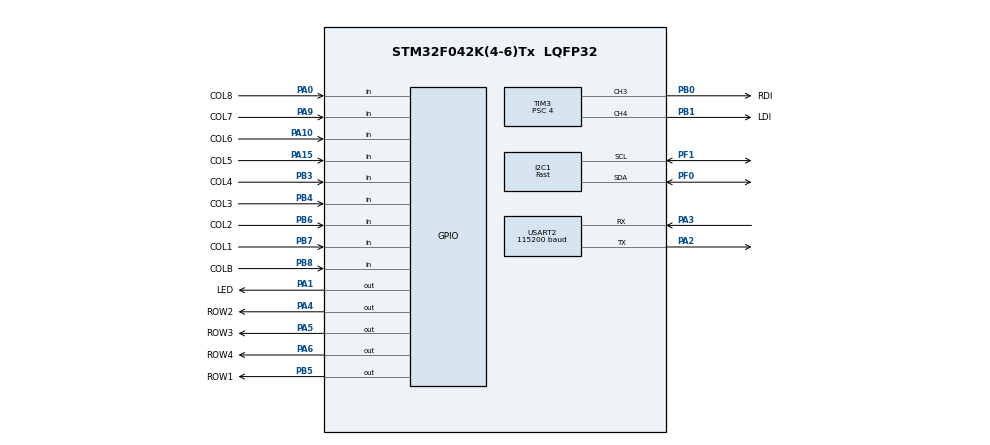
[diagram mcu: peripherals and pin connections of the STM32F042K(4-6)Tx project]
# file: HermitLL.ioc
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Mcu.Family=STM32F0
Dma.TIM3_CH3.0.Mode=DMA_CIRCULAR
I2C1.I2C_Speed_Mode=I2C_Fast
PA0.GPIO_Label=COL8
Dma.TIM3_CH3.0.PeriphInc=DMA_PINC_DISABLE
PA6.GPIO_Label=ROW4
PB0.GPIO_Label=RDI
PB6.GPIO_Label=COL2
TIM3.Channel-PWM\ Generation4\ CH4=TIM_CHANNEL_4
RCC.SYSCLKSource=RCC_SYSCLKSOURCE_HSI48
ProjectManager.StackSize=0x400
PA15.GPIO_Label=COL5
RCC.HCLKFreq_Value=48000000
TIM3.Period=11
PB6.Signal=GPIO_Input
RCC.AHBFreq_Value=48000000
Dma.TIM3_CH4/UP.1.MemInc=DMA_MINC_ENABLE
USART2.VirtualMode-Asynchronous=VM_ASYNC
PB1.GPIO_Speed=GPIO_SPEED_FREQ_HIGH
PA14.Mode=Serial_Wire
TIM3.Prescaler=4
PB1.GPIO_Label=LDI
PA10.GPIO_Label=COL6
PB7.Signal=GPIO_Input
PA0.Signal=GPIO_Input
PB7.GPIO_Label=COL1
Dma.TIM3_CH3.0.MemInc=DMA_MINC_ENABLE
Mcu.Package=LQFP32
TIM2.Prescaler=47
PB1.Signal=S_TIM3_CH4
PA6.Signal=GPIO_Output
Dma.TIM3_CH3.0.Instance=DMA1_Channel2
PA10.Signal=GPIO_Input
PA15.Signal=GPIO_Input
PB5.GPIO_Label=ROW1
Dma.Request1=TIM3_CH4/UP
RCC.APB1TimFreq_Value=48000000
Dma.TIM3_CH4/UP.1.PeriphDataAlignment=DMA_PDATAALIGN_HALFWORD
PF1-OSC_OUT.Mode=I2C
Dma.Request0=TIM3_CH3
PA4.GPIO_Label=ROW2
VP_TIM3_VS_ClockSourceINT.Mode=Internal
PF1-OSC_OUT.Signal=I2C1_SCL
PB4.Signal=GPIO_Input
PA3.Signal=USART2_RX
PB3.GPIO_Label=COL4
Dma.TIM3_CH3.0.MemDataAlignment=DMA_MDATAALIGN_BYTE
TIM3.OCFastMode_PWM-PWM\ Generation3\ CH3=TIM_OCFAST_ENABLE
TIM3.AutoReloadPreload=TIM_AUTORELOAD_PRELOAD_ENABLE
PA9.GPIO_Label=COL7
Dma.TIM3_CH3.0.Priority=DMA_PRIORITY_LOW
SH.S_TIM3_CH3.0=TIM3_CH3,PWM Generation3 CH3
USART2.BaudRate=115200
Dma.TIM3_CH3.0.Direction=DMA_MEMORY_TO_PERIPH
Dma.TIM3_CH4/UP.1.MemDataAlignment=DMA_MDATAALIGN_BYTE
PB0.GPIO_Speed=GPIO_SPEED_FREQ_HIGH
PA13.Signal=SYS_SWDIO
PA3.Mode=Asynchronous
TIM3.Channel-PWM\ Generation3\ CH3=TIM_CHANNEL_3
PB8.GPIO_Label=COLB
ProjectManager.TargetToolchain=STM32CubeIDE
Dma.TIM3_CH4/UP.1.PeriphInc=DMA_PINC_DISABLE
PA9.Signal=GPIO_Input
I2C1.Timing=0x0000020B
Dma.TIM3_CH4/UP.1.Priority=DMA_PRIORITY_LOW
Dma.TIM3_CH4/UP.1.Direction=DMA_MEMORY_TO_PERIPH
PA1.Signal=GPIO_Output
PF0-OSC_IN.Mode=I2C
PA5.Signal=GPIO_Output
Dma.TIM3_CH4/UP.1.Mode=DMA_CIRCULAR
board=custom
Dma.TIM3_CH4/UP.1.Instance=DMA1_Channel3
PB4.GPIO_Label=COL3
VP_TIM2_VS_ClockSourceINT.Mode=Internal
PA1.GPIO_Label=LED
TIM2.Period=0xffffffff
PA13.Mode=Serial_Wire
Mcu.Name=STM32F042K(4-6)Tx
PA2.Signal=USART2_TX
PB3.Signal=GPIO_Input
TIM3.OCFastMode_PWM-PWM\ Generation4\ CH4=TIM_OCFAST_ENABLE
PA4.Signal=GPIO_Output
RCC.SYSCLKFreq_VALUE=48000000
PB5.Signal=GPIO_Output
PA5.GPIO_Label=ROW3
Dma.TIM3_CH3.0.PeriphDataAlignment=DMA_PDATAALIGN_HALFWORD
PA14.Signal=SYS_SWCLK
ProjectManager.HeapSize=0x200
NVIC.DMA1_Channel2_3_IRQn=true\:0\:0\:false\:false\:true\:false\:true
PA2.Mode=Asynchronous
PB8.Signal=GPIO_Input
PF0-OSC_IN.Signal=I2C1_SDA
TIM3.TIM_MasterOutputTrigger=TIM_TRGO_OC1REF
RCC.APB1Freq_Value=48000000
PB0.Signal=S_TIM3_CH3
SH.S_TIM3_CH4.0=TIM3_CH4,PWM Generation4 CH4

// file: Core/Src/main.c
/* USER CODE BEGIN Header */
/**
  ******************************************************************************
  * @file           : main.c
  * @brief          : Main program body
  ******************************************************************************
  * @attention
  *
  * <h2><center>&copy; Copyright (c) 2021 STMicroelectronics.
  * All rights reserved.</center></h2>
  *
  * This software component is licensed by ST under BSD 3-Clause license,
  * the "License"; You may not use this file except in compliance with the
  * License. You may obtain a copy of the License at:
  *                        opensource.org/licenses/BSD-3-Clause
  *
  ******************************************************************************
  */
/* USER CODE END Header */
#include "main.h"

/* USER CODE BEGIN Includes */
#include "log.h"
#include "loop.hpp"
/* USER CODE END Includes */

/* USER CODE BEGIN PV */
volatile uint8_t g_timer_flag = 0;
volatile int16_t g_timer_counter = 0;
uint8_t s_led_state[2] = { 0, 0 };

void set_led_state( uint8_t index, uint8_t state ) {
  s_led_state[index] = state;
}
uint8_t get_led_state( uint8_t index ) {
  return s_led_state[index];
}
/* USER CODE END PV */

void SystemClock_Config(void);
static void MX_GPIO_Init(void);
static void MX_DMA_Init(void);
static void MX_I2C1_Init(void);
static void MX_TIM3_Init(void);
static void MX_USART2_UART_Init(void);
static void MX_TIM2_Init(void);
/* USER CODE BEGIN PFP */
void usb_setup();
void usb_loop();
/* USER CODE END PFP */

/* USER CODE BEGIN 0 */
#ifdef LOG_GLOBAL_ENABLE
void __io_putchar( uint8_t ch ) {
  while (LL_USART_IsActiveFlag_TXE( USART2 ) == 0);
  LL_USART_TransmitData8( USART2, ch );
}

int mini_puts( char*s, int len, void* buf ) {
  for (int n = 0; n < len; ++n) {
    __io_putchar( s[n] );
  }
  return len;
}

int mini_printf( const char* fmt, ... ) {
  va_list va;
  va_start( va, fmt );
  const int ret = mini_vpprintf( mini_puts, 0/*NULL*/, fmt, va );
  va_end( va );
  return ret;
}

#endif
/* USER CODE END 0 */

int main(void)
{

  /* MCU Configuration--------------------------------------------------------*/

  /* Reset of all peripherals, Initializes the Flash interface and the Systick. */

  LL_APB1_GRP2_EnableClock(LL_APB1_GRP2_PERIPH_SYSCFG);
  LL_APB1_GRP1_EnableClock(LL_APB1_GRP1_PERIPH_PWR);

  /* System interrupt init*/

  /* Configure the system clock */
  SystemClock_Config();

  /* Initialize all configured peripherals */
  MX_GPIO_Init();
  MX_DMA_Init();
  MX_I2C1_Init();
  MX_TIM3_Init();
#ifdef LOG_GLOBAL_ENABLE
  MX_USART2_UART_Init();
#endif
  MX_TIM2_Init();
  /* USER CODE BEGIN 2 */
  LL_SYSTICK_EnableIT();
  LL_TIM_EnableCounter( TIM2 );
  /* USER CODE END 2 */

  /* Infinite loop */
  /* USER CODE BEGIN WHILE */
  setup();
  usb_setup();
  while (1)
  {
    while (g_timer_flag == 0) {
      asm( "nop" );
    }
    g_timer_flag = 0;
    loop();
    //usb_loop();
    /* USER CODE END WHILE */

  }
}

void SystemClock_Config(void)
{
  LL_FLASH_SetLatency(LL_FLASH_LATENCY_1);
  while(LL_FLASH_GetLatency() != LL_FLASH_LATENCY_1)
  {
  }
  LL_RCC_HSI_Enable();

   /* Wait till HSI is ready */
  while(LL_RCC_HSI_IsReady() != 1)
  {

  }
  LL_RCC_HSI_SetCalibTrimming(16);
  LL_RCC_HSI48_Enable();

   /* Wait till HSI48 is ready */
  while(LL_RCC_HSI48_IsReady() != 1)
  {

  }
  LL_RCC_SetAHBPrescaler(LL_RCC_SYSCLK_DIV_1);
  LL_RCC_SetAPB1Prescaler(LL_RCC_APB1_DIV_1);
  LL_RCC_SetSysClkSource(LL_RCC_SYS_CLKSOURCE_HSI48);

   /* Wait till System clock is ready */
  while(LL_RCC_GetSysClkSource() != LL_RCC_SYS_CLKSOURCE_STATUS_HSI48)
  {

  }
  LL_Init1msTick(48000000);
  LL_SetSystemCoreClock(48000000);
  LL_RCC_SetI2CClockSource(LL_RCC_I2C1_CLKSOURCE_HSI);
  // added
  LL_RCC_SetUSBClockSource(LL_RCC_USB_CLKSOURCE_HSI48);
  LL_SetFlashLatency(48000000);
  LL_CRS_SetSyncDivider(LL_CRS_SYNC_DIV_1);
  LL_CRS_SetSyncPolarity(LL_CRS_SYNC_POLARITY_RISING);
  LL_CRS_SetSyncSignalSource(LL_CRS_SYNC_SOURCE_USB);
  LL_CRS_SetFreqErrorLimit(34);
  LL_CRS_SetHSI48SmoothTrimming(32);
}

static void MX_I2C1_Init(void)
{

  LL_I2C_InitTypeDef I2C_InitStruct = {0};

  LL_GPIO_InitTypeDef GPIO_InitStruct = {0};

  LL_AHB1_GRP1_EnableClock(LL_AHB1_GRP1_PERIPH_GPIOF);
  /**I2C1 GPIO Configuration
  PF0-OSC_IN   ------> I2C1_SDA
  PF1-OSC_OUT   ------> I2C1_SCL
  */
  GPIO_InitStruct.Pin = LL_GPIO_PIN_0;
  GPIO_InitStruct.Mode = LL_GPIO_MODE_ALTERNATE;
  GPIO_InitStruct.Speed = LL_GPIO_SPEED_FREQ_HIGH;
  GPIO_InitStruct.OutputType = LL_GPIO_OUTPUT_OPENDRAIN;
  GPIO_InitStruct.Pull = LL_GPIO_PULL_UP;
  GPIO_InitStruct.Alternate = LL_GPIO_AF_1;
  LL_GPIO_Init(GPIOF, &GPIO_InitStruct);

  GPIO_InitStruct.Pin = LL_GPIO_PIN_1;
  GPIO_InitStruct.Mode = LL_GPIO_MODE_ALTERNATE;
  GPIO_InitStruct.Speed = LL_GPIO_SPEED_FREQ_HIGH;
  GPIO_InitStruct.OutputType = LL_GPIO_OUTPUT_OPENDRAIN;
  GPIO_InitStruct.Pull = LL_GPIO_PULL_UP;
  GPIO_InitStruct.Alternate = LL_GPIO_AF_1;
  LL_GPIO_Init(GPIOF, &GPIO_InitStruct);

  /* Peripheral clock enable */
  LL_APB1_GRP1_EnableClock(LL_APB1_GRP1_PERIPH_I2C1);

  /** I2C Initialization
  */
  LL_I2C_DisableOwnAddress2(I2C1);
  LL_I2C_DisableGeneralCall(I2C1);
  LL_I2C_EnableClockStretching(I2C1);
  I2C_InitStruct.PeripheralMode = LL_I2C_MODE_I2C;
  I2C_InitStruct.Timing = 0x0000020B;
  I2C_InitStruct.AnalogFilter = LL_I2C_ANALOGFILTER_ENABLE;
  I2C_InitStruct.DigitalFilter = 0;
  I2C_InitStruct.OwnAddress1 = 0;
  I2C_InitStruct.TypeAcknowledge = LL_I2C_ACK;
  I2C_InitStruct.OwnAddrSize = LL_I2C_OWNADDRESS1_7BIT;
  LL_I2C_Init(I2C1, &I2C_InitStruct);
  LL_I2C_EnableAutoEndMode(I2C1);
  LL_I2C_SetOwnAddress2(I2C1, 0, LL_I2C_OWNADDRESS2_NOMASK);

}

static void MX_TIM2_Init(void)
{

  LL_TIM_InitTypeDef TIM_InitStruct = {0};

  /* Peripheral clock enable */
  LL_APB1_GRP1_EnableClock(LL_APB1_GRP1_PERIPH_TIM2);

  TIM_InitStruct.Prescaler = 47;
  TIM_InitStruct.CounterMode = LL_TIM_COUNTERMODE_UP;
  TIM_InitStruct.Autoreload = 0xffffffff;
  TIM_InitStruct.ClockDivision = LL_TIM_CLOCKDIVISION_DIV1;
  LL_TIM_Init(TIM2, &TIM_InitStruct);
  LL_TIM_DisableARRPreload(TIM2);
  LL_TIM_SetClockSource(TIM2, LL_TIM_CLOCKSOURCE_INTERNAL);
  LL_TIM_SetTriggerOutput(TIM2, LL_TIM_TRGO_RESET);
  LL_TIM_DisableMasterSlaveMode(TIM2);

}

static void MX_TIM3_Init(void)
{

  LL_TIM_InitTypeDef TIM_InitStruct = {0};
  LL_TIM_OC_InitTypeDef TIM_OC_InitStruct = {0};

  LL_GPIO_InitTypeDef GPIO_InitStruct = {0};

  /* Peripheral clock enable */
  LL_APB1_GRP1_EnableClock(LL_APB1_GRP1_PERIPH_TIM3);

  /* TIM3 DMA Init */

  /* TIM3_CH3 Init */
  LL_DMA_SetDataTransferDirection(DMA1, LL_DMA_CHANNEL_2, LL_DMA_DIRECTION_MEMORY_TO_PERIPH);

  LL_DMA_SetChannelPriorityLevel(DMA1, LL_DMA_CHANNEL_2, LL_DMA_PRIORITY_LOW);

  LL_DMA_SetMode(DMA1, LL_DMA_CHANNEL_2, LL_DMA_MODE_CIRCULAR);

  LL_DMA_SetPeriphIncMode(DMA1, LL_DMA_CHANNEL_2, LL_DMA_PERIPH_NOINCREMENT);

  LL_DMA_SetMemoryIncMode(DMA1, LL_DMA_CHANNEL_2, LL_DMA_MEMORY_INCREMENT);

  LL_DMA_SetPeriphSize(DMA1, LL_DMA_CHANNEL_2, LL_DMA_PDATAALIGN_HALFWORD);

  LL_DMA_SetMemorySize(DMA1, LL_DMA_CHANNEL_2, LL_DMA_MDATAALIGN_BYTE);

  /* TIM3_CH4_UP Init */
  LL_DMA_SetDataTransferDirection(DMA1, LL_DMA_CHANNEL_3, LL_DMA_DIRECTION_MEMORY_TO_PERIPH);

  LL_DMA_SetChannelPriorityLevel(DMA1, LL_DMA_CHANNEL_3, LL_DMA_PRIORITY_LOW);

  LL_DMA_SetMode(DMA1, LL_DMA_CHANNEL_3, LL_DMA_MODE_CIRCULAR);

  LL_DMA_SetPeriphIncMode(DMA1, LL_DMA_CHANNEL_3, LL_DMA_PERIPH_NOINCREMENT);

  LL_DMA_SetMemoryIncMode(DMA1, LL_DMA_CHANNEL_3, LL_DMA_MEMORY_INCREMENT);

  LL_DMA_SetPeriphSize(DMA1, LL_DMA_CHANNEL_3, LL_DMA_PDATAALIGN_HALFWORD);

  LL_DMA_SetMemorySize(DMA1, LL_DMA_CHANNEL_3, LL_DMA_MDATAALIGN_BYTE);

  TIM_InitStruct.Prescaler = 4;
  TIM_InitStruct.CounterMode = LL_TIM_COUNTERMODE_UP;
  TIM_InitStruct.Autoreload = 11;
  TIM_InitStruct.ClockDivision = LL_TIM_CLOCKDIVISION_DIV1;
  LL_TIM_Init(TIM3, &TIM_InitStruct);
  LL_TIM_EnableARRPreload(TIM3);
  LL_TIM_SetClockSource(TIM3, LL_TIM_CLOCKSOURCE_INTERNAL);
  LL_TIM_OC_EnablePreload(TIM3, LL_TIM_CHANNEL_CH3);
  TIM_OC_InitStruct.OCMode = LL_TIM_OCMODE_PWM1;
  TIM_OC_InitStruct.OCState = LL_TIM_OCSTATE_DISABLE;
  TIM_OC_InitStruct.OCNState = LL_TIM_OCSTATE_DISABLE;
  TIM_OC_InitStruct.CompareValue = 0;
  TIM_OC_InitStruct.OCPolarity = LL_TIM_OCPOLARITY_HIGH;
  LL_TIM_OC_Init(TIM3, LL_TIM_CHANNEL_CH3, &TIM_OC_InitStruct);
  LL_TIM_OC_EnableFast(TIM3, LL_TIM_CHANNEL_CH3);
  LL_TIM_OC_EnablePreload(TIM3, LL_TIM_CHANNEL_CH4);
  LL_TIM_OC_Init(TIM3, LL_TIM_CHANNEL_CH4, &TIM_OC_InitStruct);
  LL_TIM_OC_EnableFast(TIM3, LL_TIM_CHANNEL_CH4);
  LL_TIM_SetTriggerOutput(TIM3, LL_TIM_TRGO_OC1REF);
  LL_TIM_DisableMasterSlaveMode(TIM3);
  LL_AHB1_GRP1_EnableClock(LL_AHB1_GRP1_PERIPH_GPIOB);
  /**TIM3 GPIO Configuration
  PB0   ------> TIM3_CH3
  PB1   ------> TIM3_CH4
  */
  GPIO_InitStruct.Pin = RDI_Pin;
  GPIO_InitStruct.Mode = LL_GPIO_MODE_ALTERNATE;
  GPIO_InitStruct.Speed = LL_GPIO_SPEED_FREQ_HIGH;
  GPIO_InitStruct.OutputType = LL_GPIO_OUTPUT_PUSHPULL;
  GPIO_InitStruct.Pull = LL_GPIO_PULL_NO;
  GPIO_InitStruct.Alternate = LL_GPIO_AF_1;
  LL_GPIO_Init(RDI_GPIO_Port, &GPIO_InitStruct);

  GPIO_InitStruct.Pin = LDI_Pin;
  GPIO_InitStruct.Mode = LL_GPIO_MODE_ALTERNATE;
  GPIO_InitStruct.Speed = LL_GPIO_SPEED_FREQ_HIGH;
  GPIO_InitStruct.OutputType = LL_GPIO_OUTPUT_PUSHPULL;
  GPIO_InitStruct.Pull = LL_GPIO_PULL_NO;
  GPIO_InitStruct.Alternate = LL_GPIO_AF_1;
  LL_GPIO_Init(LDI_GPIO_Port, &GPIO_InitStruct);

}

static void MX_USART2_UART_Init(void)
{

  LL_USART_InitTypeDef USART_InitStruct = {0};

  LL_GPIO_InitTypeDef GPIO_InitStruct = {0};

  /* Peripheral clock enable */
  LL_APB1_GRP1_EnableClock(LL_APB1_GRP1_PERIPH_USART2);

  LL_AHB1_GRP1_EnableClock(LL_AHB1_GRP1_PERIPH_GPIOA);
  /**USART2 GPIO Configuration
  PA2   ------> USART2_TX
  PA3   ------> USART2_RX
  */
  GPIO_InitStruct.Pin = LL_GPIO_PIN_2;
  GPIO_InitStruct.Mode = LL_GPIO_MODE_ALTERNATE;
  GPIO_InitStruct.Speed = LL_GPIO_SPEED_FREQ_HIGH;
  GPIO_InitStruct.OutputType = LL_GPIO_OUTPUT_PUSHPULL;
  GPIO_InitStruct.Pull = LL_GPIO_PULL_NO;
  GPIO_InitStruct.Alternate = LL_GPIO_AF_1;
  LL_GPIO_Init(GPIOA, &GPIO_InitStruct);

  GPIO_InitStruct.Pin = LL_GPIO_PIN_3;
  GPIO_InitStruct.Mode = LL_GPIO_MODE_ALTERNATE;
  GPIO_InitStruct.Speed = LL_GPIO_SPEED_FREQ_HIGH;
  GPIO_InitStruct.OutputType = LL_GPIO_OUTPUT_PUSHPULL;
  GPIO_InitStruct.Pull = LL_GPIO_PULL_NO;
  GPIO_InitStruct.Alternate = LL_GPIO_AF_1;
  LL_GPIO_Init(GPIOA, &GPIO_InitStruct);

  USART_InitStruct.BaudRate = 115200;
  USART_InitStruct.DataWidth = LL_USART_DATAWIDTH_8B;
  USART_InitStruct.StopBits = LL_USART_STOPBITS_1;
  USART_InitStruct.Parity = LL_USART_PARITY_NONE;
  USART_InitStruct.TransferDirection = LL_USART_DIRECTION_TX_RX;
  USART_InitStruct.HardwareFlowControl = LL_USART_HWCONTROL_NONE;
  USART_InitStruct.OverSampling = LL_USART_OVERSAMPLING_16;
  LL_USART_Init(USART2, &USART_InitStruct);
  LL_USART_DisableIT_CTS(USART2);
  LL_USART_ConfigAsyncMode(USART2);
  LL_USART_Enable(USART2);

}

static void MX_DMA_Init(void)
{

  /* Init with LL driver */
  /* DMA controller clock enable */
  LL_AHB1_GRP1_EnableClock(LL_AHB1_GRP1_PERIPH_DMA1);

  /* DMA interrupt init */
  /* DMA1_Channel2_3_IRQn interrupt configuration */
  NVIC_SetPriority(DMA1_Channel2_3_IRQn, 0);
  NVIC_EnableIRQ(DMA1_Channel2_3_IRQn);

}

static void MX_GPIO_Init(void)
{
  LL_GPIO_InitTypeDef GPIO_InitStruct = {0};

  /* GPIO Ports Clock Enable */
  LL_AHB1_GRP1_EnableClock(LL_AHB1_GRP1_PERIPH_GPIOF);
  LL_AHB1_GRP1_EnableClock(LL_AHB1_GRP1_PERIPH_GPIOA);
  LL_AHB1_GRP1_EnableClock(LL_AHB1_GRP1_PERIPH_GPIOB);

  /**/
  LL_GPIO_ResetOutputPin(LED_GPIO_Port, LED_Pin);

  /**/
  LL_GPIO_ResetOutputPin(ROW2_GPIO_Port, ROW2_Pin);

  /**/
  LL_GPIO_ResetOutputPin(ROW3_GPIO_Port, ROW3_Pin);

  /**/
  LL_GPIO_ResetOutputPin(ROW4_GPIO_Port, ROW4_Pin);

  /**/
  LL_GPIO_ResetOutputPin(ROW1_GPIO_Port, ROW1_Pin);

  /**/
  GPIO_InitStruct.Pin = COL8_Pin;
  GPIO_InitStruct.Mode = LL_GPIO_MODE_INPUT;
  GPIO_InitStruct.Pull = LL_GPIO_PULL_NO;
  LL_GPIO_Init(COL8_GPIO_Port, &GPIO_InitStruct);

  /**/
  GPIO_InitStruct.Pin = LED_Pin;
  GPIO_InitStruct.Mode = LL_GPIO_MODE_OUTPUT;
  GPIO_InitStruct.Speed = LL_GPIO_SPEED_FREQ_LOW;
  GPIO_InitStruct.OutputType = LL_GPIO_OUTPUT_PUSHPULL;
  GPIO_InitStruct.Pull = LL_GPIO_PULL_NO;
  LL_GPIO_Init(LED_GPIO_Port, &GPIO_InitStruct);

  /**/
  GPIO_InitStruct.Pin = ROW2_Pin;
  GPIO_InitStruct.Mode = LL_GPIO_MODE_OUTPUT;
  GPIO_InitStruct.Speed = LL_GPIO_SPEED_FREQ_LOW;
  GPIO_InitStruct.OutputType = LL_GPIO_OUTPUT_PUSHPULL;
  GPIO_InitStruct.Pull = LL_GPIO_PULL_NO;
  LL_GPIO_Init(ROW2_GPIO_Port, &GPIO_InitStruct);

  /**/
  GPIO_InitStruct.Pin = ROW3_Pin;
  GPIO_InitStruct.Mode = LL_GPIO_MODE_OUTPUT;
  GPIO_InitStruct.Speed = LL_GPIO_SPEED_FREQ_LOW;
  GPIO_InitStruct.OutputType = LL_GPIO_OUTPUT_PUSHPULL;
  GPIO_InitStruct.Pull = LL_GPIO_PULL_NO;
  LL_GPIO_Init(ROW3_GPIO_Port, &GPIO_InitStruct);

  /**/
  GPIO_InitStruct.Pin = ROW4_Pin;
  GPIO_InitStruct.Mode = LL_GPIO_MODE_OUTPUT;
  GPIO_InitStruct.Speed = LL_GPIO_SPEED_FREQ_LOW;
  GPIO_InitStruct.OutputType = LL_GPIO_OUTPUT_PUSHPULL;
  GPIO_InitStruct.Pull = LL_GPIO_PULL_NO;
  LL_GPIO_Init(ROW4_GPIO_Port, &GPIO_InitStruct);

  /**/
  GPIO_InitStruct.Pin = COL7_Pin;
  GPIO_InitStruct.Mode = LL_GPIO_MODE_INPUT;
  GPIO_InitStruct.Pull = LL_GPIO_PULL_NO;
  LL_GPIO_Init(COL7_GPIO_Port, &GPIO_InitStruct);

  /**/
  GPIO_InitStruct.Pin = COL6_Pin;
  GPIO_InitStruct.Mode = LL_GPIO_MODE_INPUT;
  GPIO_InitStruct.Pull = LL_GPIO_PULL_NO;
  LL_GPIO_Init(COL6_GPIO_Port, &GPIO_InitStruct);

  /**/
  GPIO_InitStruct.Pin = COL5_Pin;
  GPIO_InitStruct.Mode = LL_GPIO_MODE_INPUT;
  GPIO_InitStruct.Pull = LL_GPIO_PULL_NO;
  LL_GPIO_Init(COL5_GPIO_Port, &GPIO_InitStruct);

  /**/
  GPIO_InitStruct.Pin = COL4_Pin;
  GPIO_InitStruct.Mode = LL_GPIO_MODE_INPUT;
  GPIO_InitStruct.Pull = LL_GPIO_PULL_NO;
  LL_GPIO_Init(COL4_GPIO_Port, &GPIO_InitStruct);

  /**/
  GPIO_InitStruct.Pin = COL3_Pin;
  GPIO_InitStruct.Mode = LL_GPIO_MODE_INPUT;
  GPIO_InitStruct.Pull = LL_GPIO_PULL_NO;
  LL_GPIO_Init(COL3_GPIO_Port, &GPIO_InitStruct);

  /**/
  GPIO_InitStruct.Pin = ROW1_Pin;
  GPIO_InitStruct.Mode = LL_GPIO_MODE_OUTPUT;
  GPIO_InitStruct.Speed = LL_GPIO_SPEED_FREQ_LOW;
  GPIO_InitStruct.OutputType = LL_GPIO_OUTPUT_PUSHPULL;
  GPIO_InitStruct.Pull = LL_GPIO_PULL_NO;
  LL_GPIO_Init(ROW1_GPIO_Port, &GPIO_InitStruct);

  /**/
  GPIO_InitStruct.Pin = COL2_Pin;
  GPIO_InitStruct.Mode = LL_GPIO_MODE_INPUT;
  GPIO_InitStruct.Pull = LL_GPIO_PULL_NO;
  LL_GPIO_Init(COL2_GPIO_Port, &GPIO_InitStruct);

  /**/
  GPIO_InitStruct.Pin = COL1_Pin;
  GPIO_InitStruct.Mode = LL_GPIO_MODE_INPUT;
  GPIO_InitStruct.Pull = LL_GPIO_PULL_NO;
  LL_GPIO_Init(COL1_GPIO_Port, &GPIO_InitStruct);

  /**/
  GPIO_InitStruct.Pin = COLB_Pin;
  GPIO_InitStruct.Mode = LL_GPIO_MODE_INPUT;
  GPIO_InitStruct.Pull = LL_GPIO_PULL_NO;
  LL_GPIO_Init(COLB_GPIO_Port, &GPIO_InitStruct);

}

void Error_Handler(void)
{
  __disable_irq();
  while (1)
  {
  }
}

/************************ (C) COPYRIGHT STMicroelectronics *****END OF FILE****/
